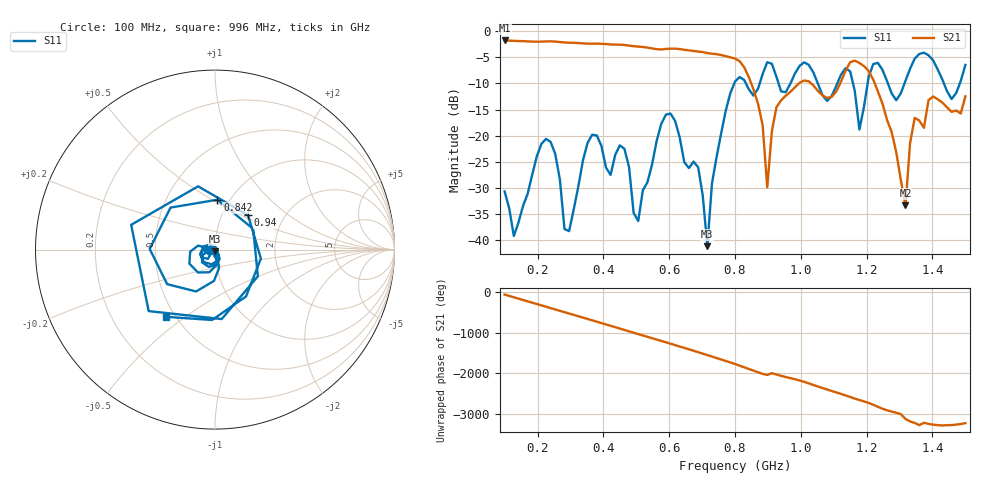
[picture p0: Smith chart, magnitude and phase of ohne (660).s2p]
! NanoVNA-App
! Date: 2025-09-25 14:25:56
! Start: 100MHz Stop: 1,5GHz Points: 101
! S-Parameter data: F S11 S21 S12 S22
# Hz S RI R 50
!  Frequency  S11_Real  S11_Imag  S21_Real  S21_Imag  S12_Real  S12_Imag  S22_Real  S22_Imag
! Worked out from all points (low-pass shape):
!   101 points, 100 MHz to 1.5 GHz, reference 50 ohm
!   highest |S21| = -1.79 dB at 100 MHz (marker M1); lowest = -33.3 dB at 1.318 GHz (marker M2)
!   |S21| within 3 dB of the highest: start of sweep to 771.8 MHz
!   lowest |S11| = -41.1 dB at 716 MHz (marker M3), VSWR 1.02, Z = 49.9 - j0.869 ohm
!   |S11| at or under -10 dB: start of sweep to 797.8 MHz; 833.2 MHz to 875.1 MHz (41.9 MHz wide, 4.91 % of centre); 1.052 GHz to 1.111 GHz (59.28 MHz wide, 5.48 % of centre) (the widest 3 of 7)
!   S12 and S22 are empty: the file has one direction only
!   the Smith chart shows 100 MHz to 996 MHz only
!   S11 on the Smith chart (normalised r, x): 100 MHz: 0.94, -0.01; 842 MHz: 0.88, +0.53; 940 MHz: 1.32, +0.54; 996 MHz: 0.44, -0.42
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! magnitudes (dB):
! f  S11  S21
! 100 MHz  -30.6  -1.8
! 128 MHz  -39.2  -1.9
! 226 MHz  -20.6  -2.0
! 296 MHz  -38.2  -2.2
! 338 MHz  -24.7  -2.4
! 464 MHz  -22.5  -2.7
! 506 MHz  -36.3  -3.0
! 576 MHz  -17.7  -3.5
! 688 MHz  -26.0  -3.9
! 716 MHz  -41.1  -4.2
! 800 MHz  -9.7  -5.2
! 842 MHz  -11.1  -8.8
! 898 MHz  -6.0  -29.9
! 940 MHz  -11.5  -13.3
! 996 MHz  -6.7  -9.9
! 1.038 GHz  -7.9  -10.4
! 1.178 GHz  -18.8  -6.1
! 1.22 GHz  -6.3  -9.3
! 1.276 GHz  -11.9  -19.3
! 1.318 GHz  -9.5  -33.3
! 1.346 GHz  -5.3  -16.6
! 1.5 GHz  -6.5  -12.5
